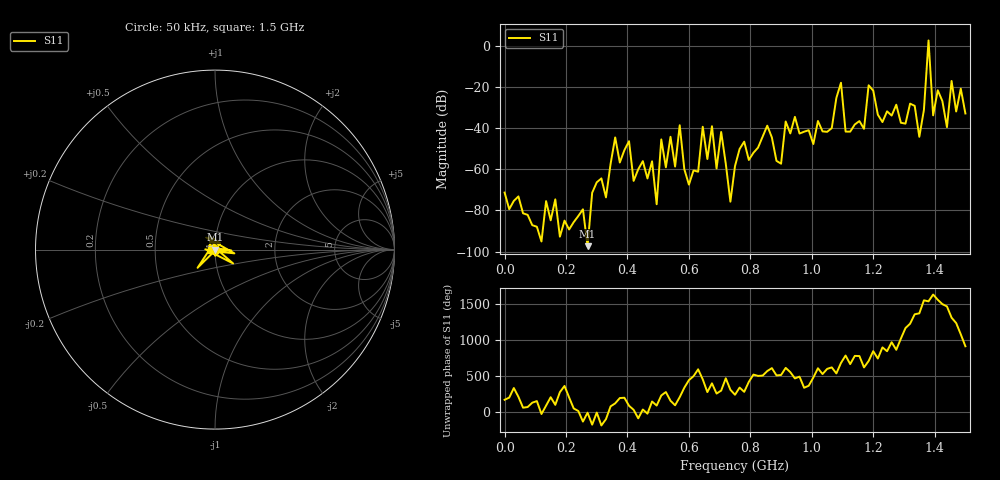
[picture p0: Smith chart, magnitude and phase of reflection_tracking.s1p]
! Created with skrf 1.8.0 (http://scikit-rf.org).
# Hz S RI R 50.0
!freq ReS11 ImS11
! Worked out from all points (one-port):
!   101 points, 50 kHz to 1.5 GHz, reference 50 ohm
!   lowest |S11| = -97.4 dB at 270 MHz (marker M1), VSWR 1.00, Z = 50 - j6.44e-05 ohm
!   |S11| at or under -10 dB: start of sweep to 1.374 GHz; 1.385 GHz to end of sweep
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50000  -0.000271 2.36e-05
1.950435e8  5.63e-05 5.39e-06
2.70041e8  1.35e-05 -6.43e-07
3.750375e8  -0.00139 -0.000469
4.80034e8  -0.00137 0.000756
4.950335e8  -1.29e-05 0.000141
5.10033e8  -0.00313 -0.0043
5.550315e8  -0.000184 0.00115
5.70031e8  -0.0101 -0.006
6.0003e8  3.5e-05 0.000423
6.450285e8  -0.00126 0.0107
6.90027e8  -0.000169 -0.00103
7.050265e8  0.0042 -0.00691
7.350255e8  0.000111 -0.00012
7.50025e8  -0.000523 -0.00108
8.550215e8  -0.00992 -0.00579
9.0002e8  -0.00125 0.000555
9.450185e8  -0.00619 0.0178
1.005016e9  -0.00211 0.00353
1.095014e9  0.101 -0.0772
1.125012e9  0.00486 -0.00663
1.18501e9  0.1083 -0.021
1.320006e9  -0.0316 0.0237
1.350005e9  0.00168 -0.00592
1.380004e9  -0.0234 1.355
1.395004e9  -0.0204 -0.00171
1.455002e9  -0.0971 -0.1015
1.5e9  -0.0223 -0.00467
